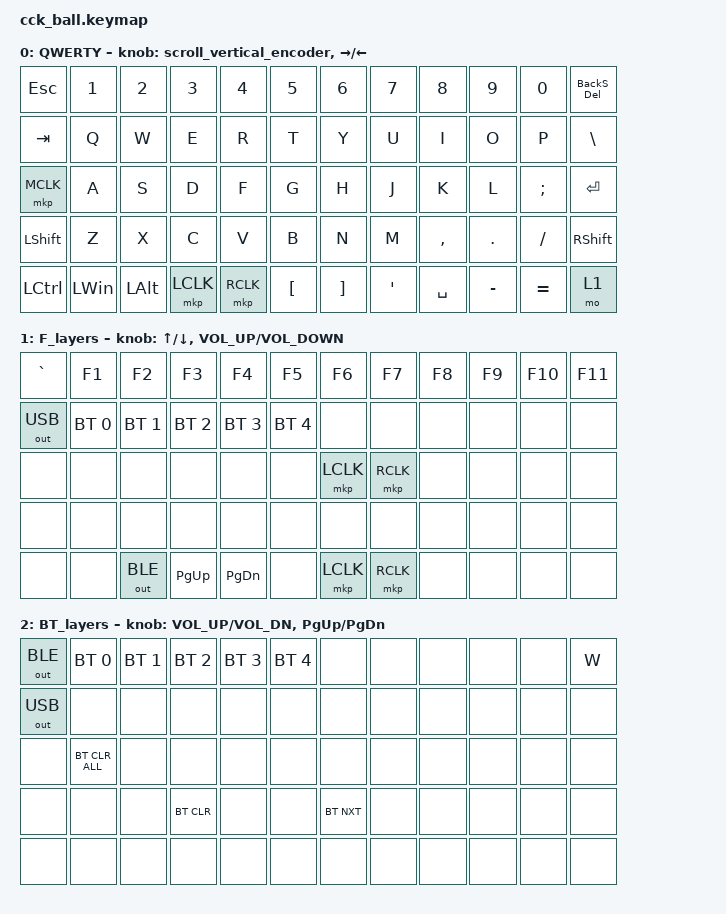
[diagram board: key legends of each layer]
#define ZMK_POINTING_DEFAULT_MOVE_VAL 1000 // 600
#define ZMK_POINTING_DEFAULT_SCRL_VAL 12   // 10

#include <input/processors.dtsi>
#include <zephyr/dt-bindings/input/input-event-codes.h>
#include <behaviors.dtsi>
#include <dt-bindings/zmk/bt.h>
#include <dt-bindings/zmk/keys.h>
#include <dt-bindings/zmk/outputs.h>
#include <dt-bindings/zmk/pointing.h>

&mmv_input_listener { input-processors = <&zip_xy_scaler 2 1>; };

&msc_input_listener { input-processors = <&zip_scroll_scaler 2 1>; };

&msc {
    acceleration-exponent = <0>;      // 0
    time-to-max-speed-ms = <300>;       // 300
    delay-ms = <0>;                   // 0
};

&mmv {
    time-to-max-speed-ms = <500>;
    acceleration-exponent = <1>;
    trigger-period-ms = <16>;
};

&soft_off { hold-time-ms = <2000>; };

/ {
    // 上下滚动编码器行为

    scroll_vertical_encoder: scroll_vertical_encoder {
        compatible = "zmk,behavior-sensor-rotate";
        #sensor-binding-cells = <0>;
        bindings = <&msc SCRL_UP>, <&msc SCRL_DOWN>;

        tap-ms = <100>;
    };

    // 左右滚动编码器行为

    scroll_horizontal_encoder: scroll_horizontal_encoder {
        compatible = "zmk,behavior-sensor-rotate";
        #sensor-binding-cells = <0>;
        bindings = <&msc SCRL_LEFT>, <&msc SCRL_RIGHT>;

        tap-ms = <100>;
    };

    CapL_L: CapL_L {
        compatible = "zmk,behavior-tap-dance";
        label = "CAPL_L";
        #binding-cells = <0>;
        bindings = <&kp LEFT_SHIFT>, <&kp LEFT_SHIFT>;
    };

    BackS_Del: BackS_Del {
        compatible = "zmk,behavior-mod-morph";
        label = "BACKS_DEL";
        bindings = <&kp BACKSPACE>, <&kp DELETE>;

        #binding-cells = <0>;
        mods = <(MOD_LSFT)>;
    };

    behaviors {
    };

    combos {
        compatible = "zmk,combos";

        shf_cap {
            bindings = <&kp CLCK>;
            key-positions = <36 47>;
        };
    };

    keymap {
        compatible = "zmk,keymap";

        QWERTY {
            bindings = <
&kp ESC           &kp N1        &kp N2        &kp N3     &kp N4     &kp N5            &kp N6             &kp N7   &kp N8     &kp N9     &kp N0     &BackS_Del
&kp TAB           &kp Q         &kp W         &kp E      &kp R      &kp T             &kp Y              &kp U    &kp I      &kp O      &kp P      &kp BSLH
&mkp MCLK         &kp A         &kp S         &kp D      &kp F      &kp G             &kp H              &kp J    &kp K      &kp L      &kp SEMI   &kp ENTER
&kp LEFT_SHIFT    &kp Z         &kp X         &kp C      &kp V      &kp B             &kp N              &kp M    &kp COMMA  &kp DOT    &kp SLASH  &kp RIGHT_SHIFT
&kp LEFT_CONTROL  &kp LEFT_WIN  &kp LEFT_ALT  &mkp LCLK  &mkp RCLK  &kp LEFT_BRACKET  &kp RIGHT_BRACKET  &kp SQT  &kp SPACE  &kp MINUS  &kp EQUAL  &mo 1
            >;

            sensor-bindings =
                <&scroll_vertical_encoder>,
                <&inc_dec_kp RIGHT_ARROW LEFT_ARROW>;
        };

        F_layers {
            bindings = <
&kp GRAVE     &kp F1        &kp F2        &kp F3        &kp F4         &kp F5        &kp F6     &kp F7     &kp F8  &kp F9  &kp F10  &kp F11
&out OUT_USB  &bt BT_SEL 0  &bt BT_SEL 1  &bt BT_SEL 2  &bt BT_SEL 3   &bt BT_SEL 4  &none      &none      &none   &none   &none    &none
&none         &none         &none         &none         &none          &none         &mkp LCLK  &mkp RCLK  &none   &none   &none    &none
&none         &none         &none         &none         &none          &none         &none      &none      &none   &none   &none    &none
&none         &none         &out OUT_BLE  &kp PAGE_UP   &kp PAGE_DOWN  &none         &mkp LCLK  &mkp RCLK  &none   &none   &none    &none
            >;

            sensor-bindings =
                <&inc_dec_kp UP_ARROW DOWN_ARROW>,
                <&inc_dec_kp C_VOLUME_UP C_VOLUME_DOWN>;
        };

        BT_layers {
            bindings = <
&out OUT_BLE  &bt BT_SEL 0    &bt BT_SEL 1  &bt BT_SEL 2  &bt BT_SEL 3  &bt BT_SEL 4  &none       &none  &none  &none  &none  &kp W
&out OUT_USB  &none           &none         &none         &none         &none         &none       &none  &none  &none  &none  &none
&none         &bt BT_CLR_ALL  &none         &none         &none         &none         &none       &none  &none  &none  &none  &none
&none         &none           &none         &bt BT_CLR    &none         &none         &bt BT_NXT  &none  &none  &none  &none  &none
&none         &none           &none         &none         &none         &none         &none       &none  &none  &none  &none  &none
            >;

            sensor-bindings = <&inc_dec_kp C_VOL_UP C_VOL_DN &inc_dec_kp PG_UP PG_DN>;
        };
    };
};
